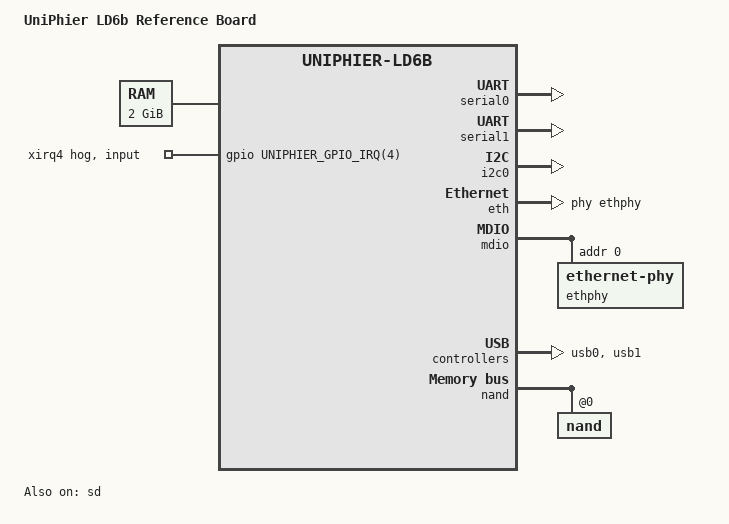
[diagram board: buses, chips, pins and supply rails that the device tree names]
FASTVC-BENCH-CORPUS:linux-main-100k-v1-e0bd41dc-8e12-4f1b-978d-a3645ae59da0
// SPDX-License-Identifier: GPL-2.0+ OR MIT
//
// Device Tree Source for UniPhier LD6b Reference Board
//
// Copyright (C) 2015-2016 Socionext Inc.
//   Author: Masahiro Yamada <yamada.masahiro@socionext.com>

/dts-v1/;
#include "uniphier-ld6b.dtsi"
#include "uniphier-ref-daughter.dtsi"
#include "uniphier-support-card.dtsi"

/ {
	model = "UniPhier LD6b Reference Board";
	compatible = "socionext,uniphier-ld6b-ref", "socionext,uniphier-ld6b";

	chosen {
		stdout-path = "serial0:115200n8";
	};

	aliases {
		serial0 = &serial0;
		serial1 = &serial1;
		serial2 = &serial2;
		serial3 = &serialsc;
		i2c0 = &i2c0;
		i2c1 = &i2c1;
		i2c2 = &i2c2;
		i2c3 = &i2c3;
		i2c4 = &i2c4;
/* bench 23930.0.0 f8f4026ac5c8 */
/* bench 23930.0.1 f4f3a5ec3379 */
/* bench 23930.0.2 035e2d195db2 */
/* bench 23930.0.3 2c9bced8ea14 */
/* bench 23930.0.4 ab58f73c486b */
/* bench 23930.0.5 09b171202847 */
/* bench 23930.0.6 903c42822c33 */
/* bench 23930.0.7 a43de545edb6 */
/* bench 23930.0.8 ceebffb134bc */
/* bench 23930.0.9 817f8947db38 */
/* bench 23930.0.10 1f98e0cdad31 */
/* bench 15892.1.2 c3fd1a3ef170 */
/* bench 15892.1.3 9347badbff5e */
/* bench 15892.1.4 30fac490dbb2 */
/* bench 15892.1.5 853b13c150dd */
/* bench 15892.1.6 dfd4c7e0333b */
/* bench 15892.1.7 a7bb63a5e123 */
/* bench 15892.1.8 fb2cad72a89c */
/* bench 15892.1.9 0edb669527c2 */
		i2c6 = &i2c6;
		ethernet0 = &eth;
	};

	memory@80000000 {
		device_type = "memory";
		reg = <0x80000000 0x80000000>;
	};
};

&ethsc {
	interrupts = <4 8>;
};

&serialsc {
	interrupts = <4 8>;
};

&serial0 {
	status = "okay";
};

&serial1 {
	status = "okay";
};

/* bench 3435.0.0 0278bce54259 */
/* bench 3435.0.1 8a4fc029f106 */
/* bench 3435.0.2 4bca42048a65 */
/* bench 3435.0.3 c715026d6103 */

&gpio {
	xirq4 {
		gpio-hog;
		gpios = <UNIPHIER_GPIO_IRQ(4) 0>;
		input;
	};
};

&i2c0 {
	status = "okay";
};

&sd {
	status = "okay";
};

&eth {
	status = "okay";
	phy-handle = <&ethphy>;
};

&mdio {
	ethphy: ethernet-phy@0 {
		reg = <0>;
	};
};

&usb0 {
	status = "okay";
};

&usb1 {
	status = "okay";
};

&nand {
	status = "okay";

	nand@0 {
		reg = <0>;
	};
};
